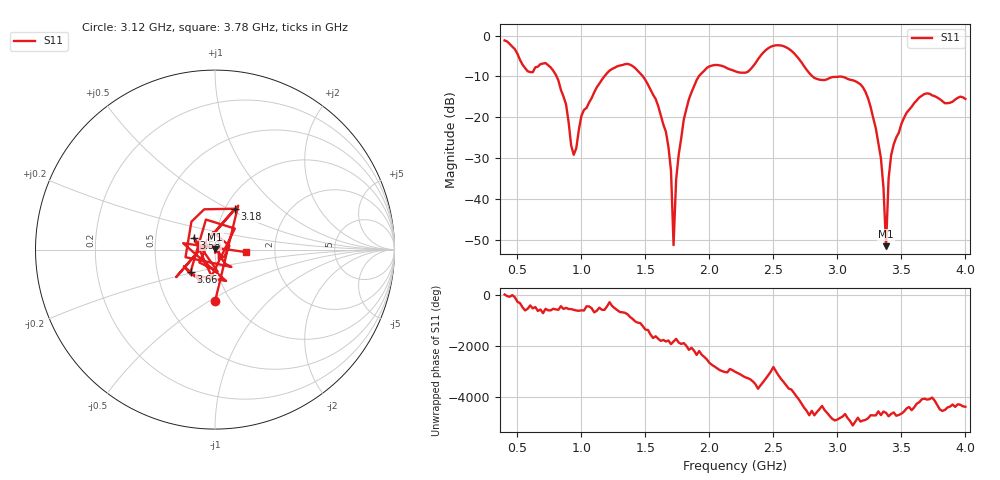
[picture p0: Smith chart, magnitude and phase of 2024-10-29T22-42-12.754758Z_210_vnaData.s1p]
!Created with skrf (http://scikit-rf.org).
# Hz S RI R 50.0
!freq ReS11 ImS11
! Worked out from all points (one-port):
!   181 points, 400 MHz to 4 GHz, reference 50 ohm
!   lowest |S11| = -51.5 dB at 3.38 GHz (marker M1), VSWR 1.01, Z = 50.2 + j0.2 ohm
!   |S11| at or under -10 dB: 806 MHz to 1.179 GHz (373.2 MHz wide, 37.6 % of centre); 1.481 GHz to 1.917 GHz (436.1 MHz wide, 25.7 % of centre); 2.806 GHz to end of sweep
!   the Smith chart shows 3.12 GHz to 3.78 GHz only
!   S11 on the Smith chart (normalised r, x): 3.12 GHz: 0.85, -0.53; 3.18 GHz: 1.11, +0.54; 3.58 GHz: 0.78, +0.11; 3.66 GHz: 0.74, -0.19; 3.78 GHz: 1.42, -0.04
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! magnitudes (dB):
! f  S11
! 400 MHz  -1.2
! 580 MHz  -8.7
! 760 MHz  -7.8
! 860 MHz  -14.9
! 940 MHz  -29.2
! 1.02 GHz  -18.2
! 1.3 GHz  -7.3
! 1.6 GHz  -17.3
! 1.68 GHz  -27.3
! 1.7 GHz  -33.1
! 1.72 GHz  -51.3
! 1.74 GHz  -35.3
! 1.76 GHz  -29.2
! 1.92 GHz  -9.8
! 2.2 GHz  -8.7
! 2.66 GHz  -4.3
! 3.1 GHz  -10.8
! 3.12 GHz  -10.9
! 3.18 GHz  -11.9
! 3.34 GHz  -30.0
! 3.38 GHz  -51.5
! 3.4 GHz  -35.0
! 3.42 GHz  -29.3
! 3.56 GHz  -18.2
! 3.58 GHz  -17.4
! 3.66 GHz  -14.7
! 3.78 GHz  -15.2
! 4 GHz  -15.5
